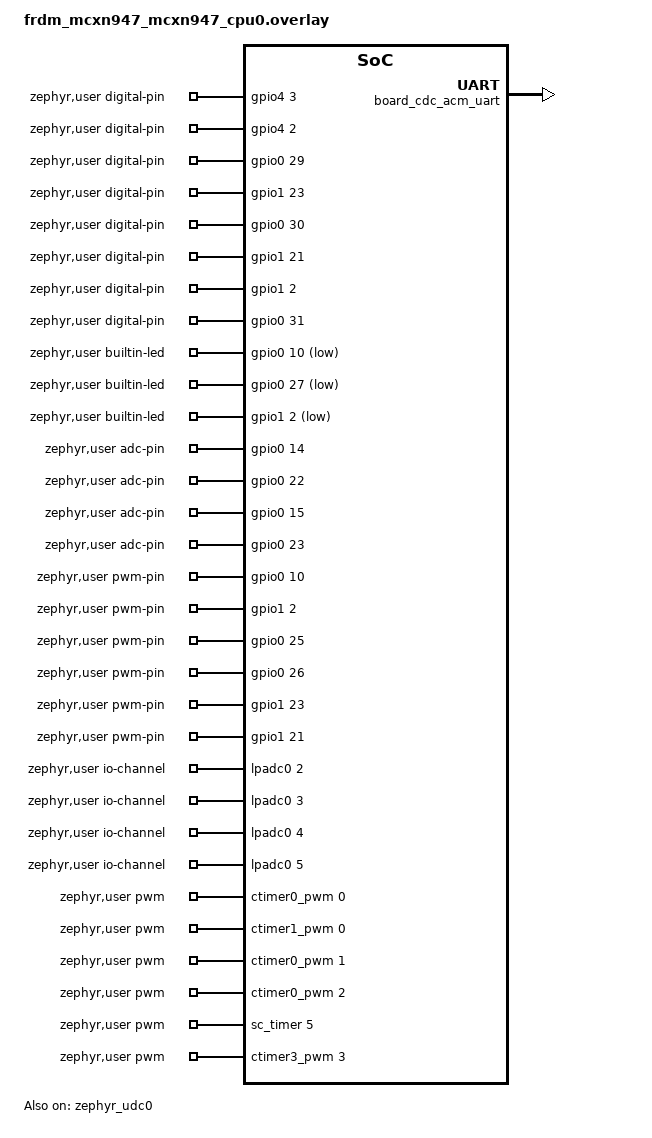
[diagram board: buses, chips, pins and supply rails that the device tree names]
/*
 * Copyright (c) Arduino s.r.l. and/or its affiliated companies
 *
 * SPDX-License-Identifier: Apache-2.0
 */

#include <zephyr/dt-bindings/pwm/pwm.h>

&zephyr_udc0 {
	status = "okay";
	board_cdc_acm_uart: board_cdc_acm_uart {
		compatible = "zephyr,cdc-acm-uart";
		status = "okay";
	};
};

&flash {
	partitions {
		compatible = "fixed-partitions";
		#address-cells = <1>;
		#size-cells = <1>;

		user_sketch: partition@F0000 {
			reg = <0xF0000 DT_SIZE_K(56)>;
		};
	};
};

/ {
	zephyr,user {
		digital-pin-gpios =
			<&gpio4 3  GPIO_ACTIVE_HIGH>,  /* D0  = P4_3  */
			<&gpio4 2  GPIO_ACTIVE_HIGH>,  /* D1  = P4_2  */
			<&gpio0 29 GPIO_ACTIVE_HIGH>,  /* D2  = P0_29 */
			<&gpio1 23 GPIO_ACTIVE_HIGH>,  /* D3  = P1_23 */
			<&gpio0 30 GPIO_ACTIVE_HIGH>,  /* D4  = P0_30 */
			<&gpio1 21 GPIO_ACTIVE_HIGH>,  /* D5  = P1_21 */
			<&gpio1 2  GPIO_ACTIVE_HIGH>,   /* D6  = P1_2  (LED_BLUE共用) */
			<&gpio0 31 GPIO_ACTIVE_HIGH>,  /* D7  = P0_31 */
			<&gpio0 28 GPIO_ACTIVE_HIGH>,  /* D8  = P0_28 */
			<&gpio0 10 GPIO_ACTIVE_HIGH>,   /* D9  = P0_10 (LED_RED共用) */
			<&gpio0 27 GPIO_ACTIVE_HIGH>,   /* D10 = P0_27 (LED_GREEN共用, SPI SS) */
			<&gpio0 24 GPIO_ACTIVE_HIGH>,  /* D11 = P0_24 (SPI MOSI) */
			<&gpio0 26 GPIO_ACTIVE_HIGH>,  /* D12 = P0_26 (SPI MISO) */
			<&gpio0 25 GPIO_ACTIVE_HIGH>,  /* D13 = P0_25 (SPI SCK) */
			<&gpio0 23 GPIO_ACTIVE_HIGH>,  /* D14 = P0_23 (SW2, ARD_A5と共用) */
			<&gpio0 6  GPIO_ACTIVE_HIGH>,  /* D15 = P0_6  (SW3) */
			<&gpio0 14 GPIO_ACTIVE_HIGH>,  /* D16 = P0_14 (A2) */
			<&gpio0 22 GPIO_ACTIVE_HIGH>,  /* D17 = P0_22 (A3) */
			<&gpio0 15 GPIO_ACTIVE_HIGH>;  /* D18 = P0_15 (A4) */
		builtin-led-gpios = <&gpio0 10 GPIO_ACTIVE_LOW>, <&gpio0 27 GPIO_ACTIVE_LOW>, <&gpio1 2 GPIO_ACTIVE_LOW>;

		cdc-acm-serial = <&board_cdc_acm_uart>; /* 'Serial' object is managed by SerialUSB */
		serials = <&flexcomm4_lpuart4>; /* 'Serial1' onwards */
		i2cs = <&flexcomm2_lpi2c2>;
		spis = <&flexcomm1_lpspi1>;

		io-channels = <&lpadc0 2>, <&lpadc0 3>, <&lpadc0 4>, <&lpadc0 5>;
		adc-pin-gpios = <&gpio0 14 0>, <&gpio0 22 0>, <&gpio0 15 0>, <&gpio0 23 0>;

		/*
		 * pwm-pin-gpios entries are positionally paired with pwms
		 * entries (same index = same D-pin). D12/D13 also carry
		 * SPI MISO/SCK - using analogWrite() on those pins is
		 * mutually exclusive with SPI within a single sketch.
		 *
		 * D10 (CT0_MAT3) is intentionally not exposed here: CTimer
		 * needs one of its 4 match channels reserved internally as
		 * the period/reset channel, so only 3 of ctimer0's MAT0-3
		 * can be independent PWM outputs at once - D9/D13/D12
		 * (MAT0-2) were kept and D10 (also SPI SS) dropped.
		 *
		 * Polarity flags below were determined empirically (logic
		 * analyzer, exact 100%-complement duty cycle measurements):
		 * - CTimer ("nxp,ctimer-pwm") channels drive inverted output
		 *   under PWM_POLARITY_NORMAL, so INVERTED is required to get
		 *   the correct duty cycle.
		 * - SCTimer ("nxp,sctimer-pwm", D3) behaves the opposite way:
		 *   NORMAL gives the correct duty cycle.
		 */
		pwms = <&ctimer0_pwm 0 PWM_HZ(500) PWM_POLARITY_INVERTED>,  /* D9  MAT0 */
			<&ctimer1_pwm 0 PWM_HZ(500) PWM_POLARITY_INVERTED>, /* D6  MAT0 */
			<&ctimer0_pwm 1 PWM_HZ(500) PWM_POLARITY_INVERTED>, /* D13 MAT1 (SPI SCK) */
			<&ctimer0_pwm 2 PWM_HZ(500) PWM_POLARITY_INVERTED>, /* D12 MAT2 (SPI MISO) */
			<&sc_timer 5 PWM_HZ(500) PWM_POLARITY_NORMAL>,      /* D3  SCT0_OUT5 */
			<&ctimer3_pwm 3 PWM_HZ(500) PWM_POLARITY_INVERTED>; /* D5  MAT3 */
		pwm-pin-gpios = <&gpio0 10 0>,  /* D9 */
			<&gpio1 2  0>,          /* D6 */
			<&gpio0 25 0>,          /* D13 */
			<&gpio0 26 0>,          /* D12 */
			<&gpio1 23 0>,          /* D3 */
			<&gpio1 21 0>;          /* D5 */
	};
};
